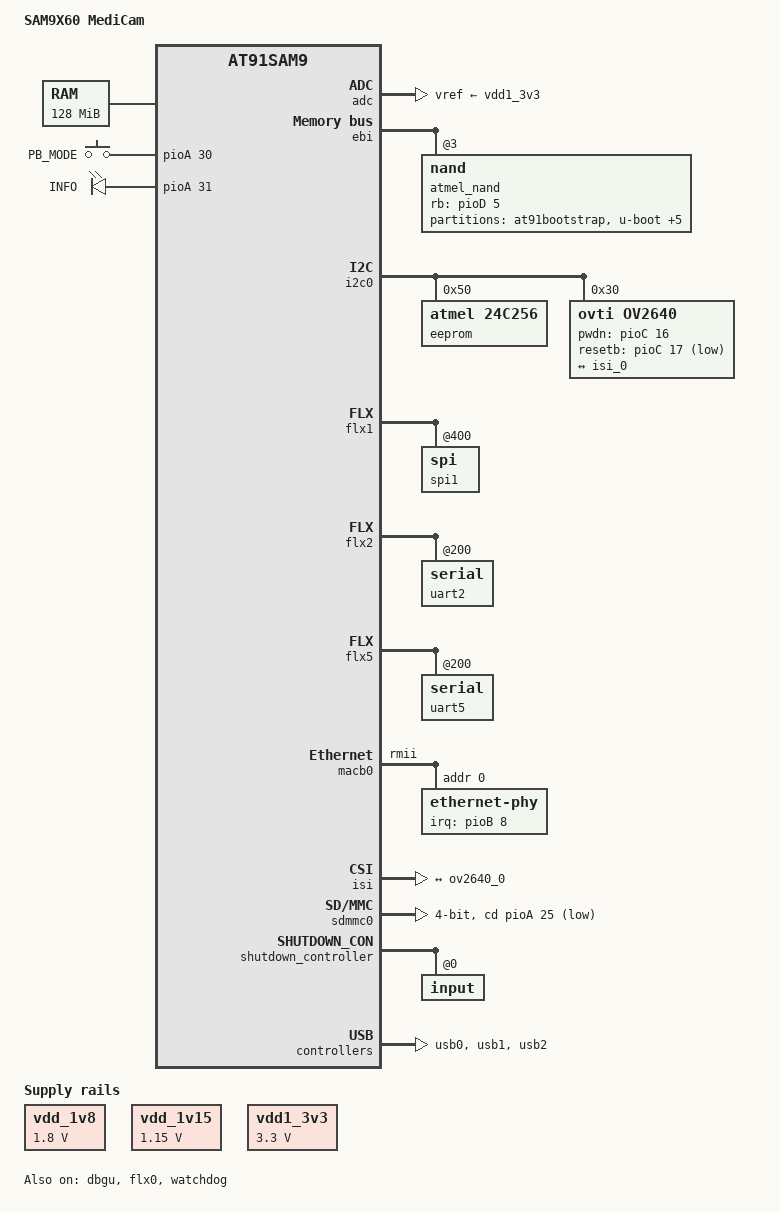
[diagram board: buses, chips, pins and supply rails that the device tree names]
// SPDX-License-Identifier: (GPL-2.0+ OR MIT)
/*
 * at91-sam9x60_medicam.dts - Device Tree file for SAM9X60 MediCam board
 * Based on at91-sam9x60_curiosity.dts - Device Tree file for Microchip SAM9X60 Curiosity board
 *
 * Author: Yuriy Kapoyko <yury.kapoyko@gmail.com>
 */
/dts-v1/;
#include "microchip/sam9x60.dtsi"
#include <dt-bindings/input/input.h>

/ {
	model = "SAM9X60 MediCam";
	compatible = "jk,sam9x60-medicam", "microchip,sam9x60-curiosity", "microchip,sam9x60", "atmel,at91sam9";

	aliases {
		i2c0 = &i2c0;
		spi1 = &spi1;
		serial2 = &uart2;
		serial5 = &uart5;
	};

	chosen {
		stdout-path = "serial0:115200n8";
	};

	memory@20000000 {
		reg = <0x20000000 0x8000000>;
	};

	clocks {
		slow_xtal {
			clock-frequency = <32768>;
		};

		main_xtal {
			clock-frequency = <24000000>;
		};
	};

	gpio-keys {
		compatible = "gpio-keys";
		pinctrl-names = "default";
		pinctrl-0 = <&pinctrl_key_gpio_default>;

		button-mode {
			label = "PB_MODE";
			gpios = <&pioA 30 GPIO_ACTIVE_HIGH>;
			linux,code = <KEY_PROG1>;
			wakeup-source;
		};
	};

	leds {
		compatible = "gpio-leds";
		pinctrl-names = "default";
		pinctrl-0 = <&pinctrl_gpio_leds>;

		led-info {
			label = "INFO";
			gpios = <&pioA 31 GPIO_ACTIVE_HIGH>;
			linux,default-trigger = "heartbeat";
		};
	};
	
	// NOTE: other GPIO are expected to be used with gpiod (CONFIG_GPIO_CDEV=y, CONFIG_GPIO_CDEV_V1=y)

	vdd_1v8: regulator-0 {
		compatible = "regulator-fixed";
		regulator-always-on;
		regulator-max-microvolt = <1800000>;
		regulator-min-microvolt = <1800000>;
		regulator-name = "VDD_1V8";
	};

	vdd_1v15: regulator-1 {
		compatible = "regulator-fixed";
		regulator-always-on;
		regulator-max-microvolt = <1150000>;
		regulator-min-microvolt = <1150000>;
		regulator-name = "VDD_1V15";
	};

	vdd1_3v3: regulator-2 {
		compatible = "regulator-fixed";
		regulator-always-on;
		regulator-max-microvolt = <3300000>;
		regulator-min-microvolt = <3300000>;
		regulator-name = "VDD1_3V3";
	};
};

&adc {
	vddana-supply = <&vdd1_3v3>;
	vref-supply = <&vdd1_3v3>;
	pinctrl-names = "default";
	pinctrl-0 = <&pinctrl_adc_default &pinctrl_adtrg_default>;
	status = "okay";
};

&dbgu {
	pinctrl-names = "default";
	pinctrl-0 = <&pinctrl_dbgu>;
	status = "okay"; /* Conflict with can0. */
};

&ebi {
	pinctrl-names = "default";
	pinctrl-0 = <&pinctrl_ebi_addr_nand &pinctrl_ebi_data_lsb>;
	status = "okay";

	nand_controller: nand-controller {
		pinctrl-names = "default";
		pinctrl-0 = <&pinctrl_nand_oe_we &pinctrl_nand_cs &pinctrl_nand_rb>;
		status = "okay";

		nand@3 {
			reg = <0x3 0x0 0x800000>;
			rb-gpios = <&pioD 5 GPIO_ACTIVE_HIGH>;
			cs-gpios = <&pioD 4 GPIO_ACTIVE_HIGH>;
			nand-bus-width = <8>;
			nand-ecc-mode = "hw";
			nand-ecc-strength = <8>;
			nand-ecc-step-size = <512>;
			nand-on-flash-bbt;
			label = "atmel_nand";

			partitions {
				compatible = "fixed-partitions";
				#address-cells = <1>;
				#size-cells = <1>;

				at91bootstrap@0 {
					label = "at91bootstrap";
					reg = <0x0 0x40000>;
				};

				uboot@40000 {
					label = "u-boot";
					reg = <0x40000 0xc0000>;
				};

				ubootenvred@100000 {
					label = "U-Boot Env Redundant";
					reg = <0x100000 0x40000>;
				};

				ubootenv@140000 {
					label = "U-Boot Env";
					reg = <0x140000 0x40000>;
				};

				dtb@180000 {
					label = "device tree";
					reg = <0x180000 0x80000>;
				};

				kernel@200000 {
					label = "kernel";
					reg = <0x200000 0x600000>;
				};

				rootfs@800000 {
					label = "rootfs";
					reg = <0x800000 0x1f800000>;
				};
			};
		};
	};
};

&flx0 {
	atmel,flexcom-mode = <ATMEL_FLEXCOM_MODE_TWI>;
	status = "okay";

	i2c0: i2c@600 {
		dmas = <0>, <0>;
		pinctrl-names = "default";
		pinctrl-0 = <&pinctrl_flx0_default>;
		i2c-analog-filter;
		i2c-digital-filter;
		i2c-digital-filter-width-ns = <35>;
		status = "okay";

		eeprom@50 {
			compatible = "atmel,24c256";
			reg = <0x50>;
			pagesize = <64>;
			size = <32768>;
			address-width = <16>;
		};
		
		ov2640: camera@30 {
			compatible = "ovti,ov2640";
			reg = <0x30>;
			pinctrl-names = "default";
			pinctrl-0 = <&pinctrl_pck0_as_isi_mck &pinctrl_sensor_power &pinctrl_sensor_reset>;
			pwdn-gpios = <&pioC 16 GPIO_ACTIVE_HIGH>;
			resetb-gpios = <&pioC 17 GPIO_ACTIVE_LOW>;
			clocks = <&pmc PMC_TYPE_SYSTEM 8>;
			clock-names = "xvclk";
			assigned-clocks = <&pmc PMC_TYPE_SYSTEM 8>;
			assigned-clock-rates = <25000000>;
			status = "okay";

			port {
				ov2640_0: endpoint {
					remote-endpoint = <&isi_0>;
					bus-width = <8>;
					vsync-active = <1>;
					hsync-active = <1>;
				};
			};
		};
	};
};

&flx1 {
	atmel,flexcom-mode = <ATMEL_FLEXCOM_MODE_SPI>;
	status = "okay";

	spi1: spi@400 {
		pinctrl-names = "default";
		pinctrl-0 = <&pinctrl_flx1_default>;
		status = "okay";
		
		cs-gpios = <0>;  // Disable hardware CS (optional)
		num-cs = <0>;    // Explicitly disable CS lines
		
		spidev@0 {
			compatible = "spidev";
			reg = <0>; // Dummy chip Select, unused for WS2812
			spi-max-frequency = <3200000>; // Max SPI clock (3.2MHz for WS2812)
			spi-cpol;    // CPOL=1 (idle high)
			spi-cpha;    // CPHA=1 (data captured on second edge)
		};
	};
};

&flx2 {
	atmel,flexcom-mode = <ATMEL_FLEXCOM_MODE_USART>;
	status = "okay";

	uart2: serial@200 {
		pinctrl-names = "default";
		pinctrl-0 = <&pinctrl_flx2_default>;
		status = "okay";
	};
};

&flx5 {
	atmel,flexcom-mode = <ATMEL_FLEXCOM_MODE_USART>;
	status = "okay";

	uart5: serial@200 {
		pinctrl-names = "default";
		pinctrl-0 = <&pinctrl_flx5_default>;
		status = "okay";
	};
};

&macb0 {
	phy-mode = "rmii";
	#address-cells = <1>;
	#size-cells = <0>;
	pinctrl-names = "default";
	pinctrl-0 = <&pinctrl_macb0_rmii>;
	status = "okay";

	ethernet-phy@0 {
		reg = <0x0>;
		interrupt-parent = <&pioB>;
		interrupts = <8 IRQ_TYPE_LEVEL_LOW>;
	};
};

&isi {
	pinctrl-names = "default";
	pinctrl-0 = <&pinctrl_isi_base &pinctrl_isi_data_0_7>;
	status = "okay";
	
	port {
		isi_0: endpoint@0 {
			remote-endpoint = <&ov2640_0>;
			bus-width = <8>;
			vsync-active = <1>;
			hsync-active = <1>;
		};
	};
};

&hlcdc {
	status = "disabled";	/* conflict with ISI */
};

&pinctrl {
	adc {
		pinctrl_adc_default: adc-default {
			atmel,pins = <AT91_PIOB 14 AT91_PERIPH_A AT91_PINCTRL_NONE>;
		};

		pinctrl_adtrg_default: adtrg-default {
			atmel,pins = <AT91_PIOB 18 AT91_PERIPH_B AT91_PINCTRL_PULL_UP>;
		};
	};

	dbgu {
		pinctrl_dbgu: dbgu-0 {
			atmel,pins = <AT91_PIOA 9 AT91_PERIPH_A AT91_PINCTRL_PULL_UP
				      AT91_PIOA 10 AT91_PERIPH_A AT91_PINCTRL_NONE>;
		};
	};

	ebi {
		pinctrl_ebi_data_lsb: ebi-data-lsb {
			atmel,pins =
				<AT91_PIOD 6 AT91_PERIPH_A (AT91_PINCTRL_NONE | AT91_PINCTRL_SLEWRATE_DIS)
				 AT91_PIOD 7 AT91_PERIPH_A (AT91_PINCTRL_NONE | AT91_PINCTRL_SLEWRATE_DIS)
				 AT91_PIOD 8 AT91_PERIPH_A (AT91_PINCTRL_NONE | AT91_PINCTRL_SLEWRATE_DIS)
				 AT91_PIOD 9 AT91_PERIPH_A (AT91_PINCTRL_NONE | AT91_PINCTRL_SLEWRATE_DIS)
				 AT91_PIOD 10 AT91_PERIPH_A (AT91_PINCTRL_NONE | AT91_PINCTRL_SLEWRATE_DIS)
				 AT91_PIOD 11 AT91_PERIPH_A (AT91_PINCTRL_NONE | AT91_PINCTRL_SLEWRATE_DIS)
				 AT91_PIOD 12 AT91_PERIPH_A (AT91_PINCTRL_NONE | AT91_PINCTRL_SLEWRATE_DIS)
				 AT91_PIOD 13 AT91_PERIPH_A (AT91_PINCTRL_NONE | AT91_PINCTRL_SLEWRATE_DIS)>;
		};

		pinctrl_ebi_addr_nand: ebi-addr-nand {
			atmel,pins =
				<AT91_PIOD 2 AT91_PERIPH_A (AT91_PINCTRL_NONE | AT91_PINCTRL_SLEWRATE_DIS)
				 AT91_PIOD 3 AT91_PERIPH_A (AT91_PINCTRL_NONE | AT91_PINCTRL_SLEWRATE_DIS)>;
		};
	};

	flexcom {
		pinctrl_flx0_default: flx0-twi {
			atmel,pins =
				<AT91_PIOA 0 AT91_PERIPH_A AT91_PINCTRL_PULL_UP
				 AT91_PIOA 1 AT91_PERIPH_A AT91_PINCTRL_PULL_UP>;
		};
		
		pinctrl_flx1_default: flx1-spi {
			atmel,pins =
				<AT91_PIOA 5 AT91_PERIPH_A AT91_PINCTRL_NONE>;
		};

		pinctrl_flx2_default: flx2-usart {
			atmel,pins =
				<AT91_PIOA 7 AT91_PERIPH_A AT91_PINCTRL_NONE
				 AT91_PIOA 8 AT91_PERIPH_A AT91_PINCTRL_NONE>;
		};

		pinctrl_flx5_default: flx5-usart {
			atmel,pins =
				<AT91_PIOA 21 AT91_PERIPH_B AT91_PINCTRL_NONE
				 AT91_PIOA 22 AT91_PERIPH_B AT91_PINCTRL_NONE>;
		};
	};

	gpio-keys {
		pinctrl_key_gpio_default: pinctrl-key-gpio {
			atmel,pins = <AT91_PIOA 30 AT91_PERIPH_GPIO AT91_PINCTRL_NONE>;
		};
	};

	leds {
		pinctrl_gpio_leds: gpio-leds {
			atmel,pins = <AT91_PIOA 31 AT91_PERIPH_GPIO AT91_PINCTRL_NONE>;
		};
	};

	macb0 {
		pinctrl_macb0_rmii: macb0-rmii-0 {
			atmel,pins =
				<AT91_PIOB 0 AT91_PERIPH_A AT91_PINCTRL_NONE	/* PB0 periph A */
				 AT91_PIOB 1 AT91_PERIPH_A AT91_PINCTRL_NONE	/* PB1 periph A */
				 AT91_PIOB 2 AT91_PERIPH_A AT91_PINCTRL_NONE	/* PB2 periph A */
				 AT91_PIOB 3 AT91_PERIPH_A AT91_PINCTRL_NONE	/* PB3 periph A */
				 AT91_PIOB 4 AT91_PERIPH_A AT91_PINCTRL_NONE	/* PB4 periph A */
				 AT91_PIOB 5 AT91_PERIPH_A AT91_PINCTRL_NONE	/* PB5 periph A */
				 AT91_PIOB 6 AT91_PERIPH_A AT91_PINCTRL_NONE	/* PB6 periph A */
				 AT91_PIOB 7 AT91_PERIPH_A AT91_PINCTRL_NONE	/* PB7 periph A */
				 AT91_PIOB 8 AT91_PERIPH_GPIO AT91_PINCTRL_NONE	/* PB8 IRQ GPIO */
				 AT91_PIOB 9 AT91_PERIPH_A AT91_PINCTRL_NONE	/* PB9 periph A */
				 AT91_PIOB 10 AT91_PERIPH_A AT91_PINCTRL_NONE>;	/* PB10 periph A */
		};
	};

	nand {
		pinctrl_nand_oe_we: nand-oe-we-0 {
			atmel,pins =
				<AT91_PIOD 0 AT91_PERIPH_A (AT91_PINCTRL_NONE | AT91_PINCTRL_SLEWRATE_DIS)
				 AT91_PIOD 1 AT91_PERIPH_A (AT91_PINCTRL_NONE | AT91_PINCTRL_SLEWRATE_DIS)>;
		};

		pinctrl_nand_rb: nand-rb-0 {
			atmel,pins =
				<AT91_PIOD 5 AT91_PERIPH_GPIO AT91_PINCTRL_PULL_UP>;
		};

		pinctrl_nand_cs: nand-cs-0 {
			atmel,pins =
				<AT91_PIOD 4 AT91_PERIPH_GPIO AT91_PINCTRL_PULL_UP>;
		};
	};

	sdmmc0 {
		pinctrl_sdmmc0_default: sdmmc0 {
			atmel,pins =
				<AT91_PIOA 17 AT91_PERIPH_A (AT91_PINCTRL_DRIVE_STRENGTH_HI)				/* PA17 CK  periph A with pullup */
				 AT91_PIOA 16 AT91_PERIPH_A (AT91_PINCTRL_PULL_UP | AT91_PINCTRL_DRIVE_STRENGTH_HI)	/* PA16 CMD periph A with pullup */
				 AT91_PIOA 15 AT91_PERIPH_A (AT91_PINCTRL_PULL_UP | AT91_PINCTRL_DRIVE_STRENGTH_HI)	/* PA15 DAT0 periph A */
				 AT91_PIOA 18 AT91_PERIPH_A (AT91_PINCTRL_PULL_UP | AT91_PINCTRL_DRIVE_STRENGTH_HI)	/* PA18 DAT1 periph A with pullup */
				 AT91_PIOA 19 AT91_PERIPH_A (AT91_PINCTRL_PULL_UP | AT91_PINCTRL_DRIVE_STRENGTH_HI)	/* PA19 DAT2 periph A with pullup */
				 AT91_PIOA 20 AT91_PERIPH_A (AT91_PINCTRL_PULL_UP | AT91_PINCTRL_DRIVE_STRENGTH_HI)>;	/* PA20 DAT3 periph A with pullup */
		};

		pinctrl_sdmmc0_cd: sdmmc0-cd {
			atmel,pins =
				<AT91_PIOA 25 AT91_PERIPH_GPIO AT91_PINCTRL_NONE>;
		};
	};

	usb0 {
		pinctrl_usba_vbus: usba-vbus {
			atmel,pins = <AT91_PIOA 27 AT91_PERIPH_GPIO AT91_PINCTRL_NONE>;
		};
	};

	usb1 {
		pinctrl_usb_default: usb-default {
			atmel,pins = <AT91_PIOD 18 AT91_PERIPH_GPIO AT91_PINCTRL_NONE
				      AT91_PIOD 15 AT91_PERIPH_GPIO AT91_PINCTRL_NONE>;
		};
	};
	
	isi {
		pinctrl_isi_base: isi_base {
			atmel,pins =
				<AT91_PIOC 12 AT91_PERIPH_B AT91_PINCTRL_NONE   /* ISI_PCK, conflicts with LCDDAT12 */
				 AT91_PIOC 13 AT91_PERIPH_B AT91_PINCTRL_NONE   /* ISI_VSYNC, conflicts with LCDDAT13 */
				 AT91_PIOC 14 AT91_PERIPH_B AT91_PINCTRL_NONE>; /* ISI_HSYNC, conflicts with LCDDAT14 */
		};

		pinctrl_isi_data_0_7: isi-0-data-0-7 {
			atmel,pins =
				<AT91_PIOC 0 AT91_PERIPH_B AT91_PINCTRL_NONE	/* ISI_D0, conflicts with LCDDAT0 */
				 AT91_PIOC 1 AT91_PERIPH_B AT91_PINCTRL_NONE	/* ISI_D1, conflicts with LCDDAT1 */
				 AT91_PIOC 2 AT91_PERIPH_B AT91_PINCTRL_NONE	/* ISI_D2, conflicts with LCDDAT2 */
				 AT91_PIOC 3 AT91_PERIPH_B AT91_PINCTRL_NONE	/* ISI_D3, conflicts with LCDDAT3 */
				 AT91_PIOC 4 AT91_PERIPH_B AT91_PINCTRL_NONE	/* ISI_D4, conflicts with LCDDAT4 */
				 AT91_PIOC 5 AT91_PERIPH_B AT91_PINCTRL_NONE	/* ISI_D5, conflicts with LCDDAT5 */
				 AT91_PIOC 6 AT91_PERIPH_B AT91_PINCTRL_NONE	/* ISI_D6, conflicts with LCDDAT6 */
				 AT91_PIOC 7 AT91_PERIPH_B AT91_PINCTRL_NONE>;	/* ISI_D7, conflicts with LCDDAT7 */
		};

		pinctrl_isi_data_8_11: isi-0-data-8-11 {
			atmel,pins =
				<AT91_PIOC 8 AT91_PERIPH_B AT91_PINCTRL_NONE	/* ISI_D8, conflicts with LCDDAT8 */
				 AT91_PIOC 9 AT91_PERIPH_B AT91_PINCTRL_NONE	/* ISI_D9, conflicts with LCDDAT9 */
				 AT91_PIOC 10 AT91_PERIPH_B AT91_PINCTRL_NONE	/* ISI_D10, conflicts with LCDDAT10 */
				 AT91_PIOC 11 AT91_PERIPH_B AT91_PINCTRL_NONE>;	/* ISI_D11, conflicts with LCDDAT11 */
		};
	};
	
	camera_sensor {
		pinctrl_pck0_as_isi_mck: pck0_as_isi_mck-0 {
			atmel,pins =
				<AT91_PIOC 15 AT91_PERIPH_C AT91_PINCTRL_NONE>; /* ISI_MCK */
		};

		pinctrl_sensor_power: sensor_power-0 {
			atmel,pins =
				<AT91_PIOC 16 AT91_PERIPH_GPIO AT91_PINCTRL_NONE>;
		};
		pinctrl_sensor_reset: sensor_reset-0 {
			atmel,pins =
				<AT91_PIOC 17 AT91_PERIPH_GPIO AT91_PINCTRL_NONE>;
		};
	};
}; /* pinctrl */

&rtt {
	atmel,rtt-rtc-time-reg = <&gpbr 0x0>;
};

&sdmmc0 {
	bus-width = <4>;
	pinctrl-names = "default";
	pinctrl-0 = <&pinctrl_sdmmc0_default &pinctrl_sdmmc0_cd>;
	cd-gpios = <&pioA 25 GPIO_ACTIVE_LOW>;
	disable-wp;
	status = "okay";
};

&rtt {
	atmel,rtt-rtc-time-reg = <&gpbr 0x0>;
};

&shutdown_controller {
	debounce-delay-us = <976>;
	status = "okay";

	input@0 {
		reg = <0>;
	};
};

&tcb0 {
	timer0: timer@0 {
		compatible = "atmel,tcb-timer";
		reg = <0>;
	};

	timer1: timer@1 {
		compatible = "atmel,tcb-timer";
		reg = <1>;
	};
};

&usb0 {
	atmel,vbus-gpio = <&pioA 27 GPIO_ACTIVE_HIGH>;
	pinctrl-names = "default";
	pinctrl-0 = <&pinctrl_usba_vbus>;
	status = "okay";
};

&usb1 {
	num-ports = <3>;
	atmel,vbus-gpio = <0
			   &pioD 18 GPIO_ACTIVE_HIGH
			   &pioD 15 GPIO_ACTIVE_HIGH>;
	pinctrl-names = "default";
	pinctrl-0 = <&pinctrl_usb_default>;
	status = "okay";
};

&usb2 {
	status = "okay";
};

&watchdog {
	status = "okay";
};
